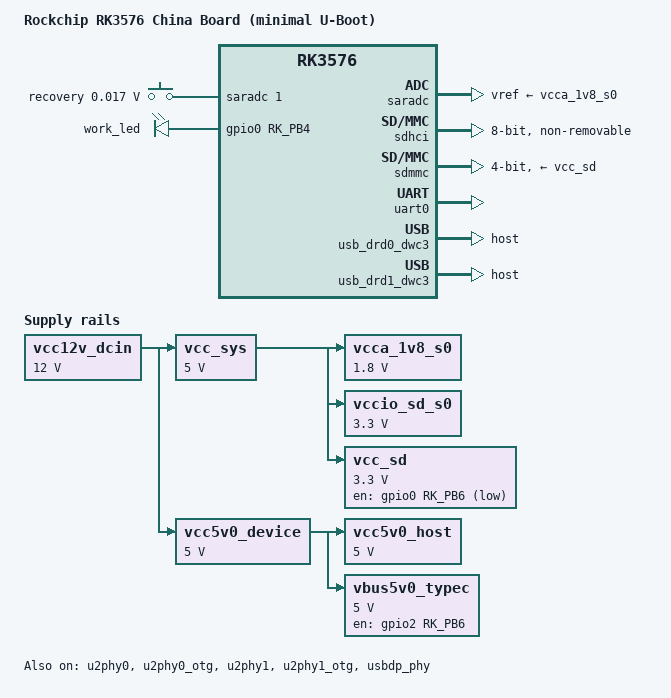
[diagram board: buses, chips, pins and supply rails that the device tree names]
// SPDX-License-Identifier: (GPL-2.0+ OR MIT)
/*
 * Minimal RK3576 U-Boot device tree for:
 * - eMMC boot storage
 * - SD card slot
 * - USB host
 * - status LED
 * - ADC recovery button
 */

/dts-v1/;

#include <dt-bindings/gpio/gpio.h>
#include <dt-bindings/input/input.h>
#include <dt-bindings/pinctrl/rockchip.h>
#include "rk3576.dtsi"

/ {
	model = "Rockchip RK3576 China Board (minimal U-Boot)";
	compatible = "rockchip,rk3576-evb1-v10", "rockchip,rk3576";

	aliases {
		mmc0 = &sdhci;
		mmc1 = &sdmmc;
		serial0 = &uart0;
	};

	chosen {
		stdout-path = "serial0:1500000n8";
	};

	adc_keys: adc-keys {
		compatible = "adc-keys";
		io-channels = <&saradc 1>;
		io-channel-names = "buttons";
		keyup-threshold-microvolt = <1800000>;
		poll-interval = <100>;

		button-recovery {
			label = "recovery";
			linux,code = <KEY_VOLUMEUP>;
			press-threshold-microvolt = <17000>;
		};
	};

	leds {
		compatible = "gpio-leds";

		work_led: work {
			gpios = <&gpio0 RK_PB4 GPIO_ACTIVE_HIGH>;
			linux,default-trigger = "heartbeat";
		};
	};

	vcc12v_dcin: regulator-vcc12v-dcin {
		compatible = "regulator-fixed";
		regulator-name = "vcc12v_dcin";
		regulator-always-on;
		regulator-boot-on;
		regulator-min-microvolt = <12000000>;
		regulator-max-microvolt = <12000000>;
	};

	vcc_sys: regulator-vcc5v0-sys {
		compatible = "regulator-fixed";
		regulator-name = "vcc_sys";
		regulator-always-on;
		regulator-boot-on;
		regulator-min-microvolt = <5000000>;
		regulator-max-microvolt = <5000000>;
		vin-supply = <&vcc12v_dcin>;
	};

	vcc5v0_device: regulator-vcc5v0-device {
		compatible = "regulator-fixed";
		regulator-name = "vcc5v0_device";
		regulator-always-on;
		regulator-boot-on;
		regulator-min-microvolt = <5000000>;
		regulator-max-microvolt = <5000000>;
		vin-supply = <&vcc12v_dcin>;
	};

	vcc5v0_host: regulator-vcc5v0-host {
		compatible = "regulator-fixed";
		regulator-name = "vcc5v0_host";
		regulator-always-on;
		regulator-boot-on;
		regulator-min-microvolt = <5000000>;
		regulator-max-microvolt = <5000000>;
		vin-supply = <&vcc5v0_device>;
	};

	vbus5v0_typec: regulator-vbus5v0-typec {
		compatible = "regulator-fixed";
		regulator-name = "vbus5v0_typec";
		regulator-min-microvolt = <5000000>;
		regulator-max-microvolt = <5000000>;
		enable-active-high;
		gpio = <&gpio2 RK_PB6 GPIO_ACTIVE_HIGH>;
		vin-supply = <&vcc5v0_device>;
		pinctrl-names = "default";
		pinctrl-0 = <&usb_otg0_pwren>;
	};

	vcca_1v8_s0: regulator-vcca-1v8-s0 {
		compatible = "regulator-fixed";
		regulator-name = "vcca_1v8_s0";
		regulator-always-on;
		regulator-boot-on;
		regulator-min-microvolt = <1800000>;
		regulator-max-microvolt = <1800000>;
		vin-supply = <&vcc_sys>;
	};

	vccio_sd_s0: regulator-vccio-sd-s0 {
		compatible = "regulator-fixed";
		regulator-name = "vccio_sd_s0";
		regulator-always-on;
		regulator-boot-on;
		regulator-min-microvolt = <3300000>;
		regulator-max-microvolt = <3300000>;
		vin-supply = <&vcc_sys>;
	};

	vcc_sd: regulator-vcc-sd {
		compatible = "regulator-fixed";
		regulator-name = "vcc_sd";
		regulator-boot-on;
		regulator-min-microvolt = <3300000>;
		regulator-max-microvolt = <3300000>;
		gpio = <&gpio0 RK_PB6 GPIO_ACTIVE_HIGH>;
		vin-supply = <&vcc_sys>;
		pinctrl-names = "default";
		pinctrl-0 = <&sdmmc_pwr>;
	};
};

&pinctrl {
	sdmmc-pwr-en {
		sdmmc_pwr: sdmmc-pwr {
			rockchip,pins = <0 RK_PB6 RK_FUNC_GPIO &pcfg_pull_none>;
		};
	};

	usb {
		usb_otg0_pwren: usb-otg0-pwren {
			rockchip,pins = <2 RK_PB6 RK_FUNC_GPIO &pcfg_pull_none>;
		};
	};
};

&saradc {
	vref-supply = <&vcca_1v8_s0>;
	status = "okay";
};

&sdhci {
	bus-width = <8>;
	full-pwr-cycle-in-suspend;
	max-frequency = <200000000>;
	mmc-hs400-1_8v;
	mmc-hs400-enhanced-strobe;
	no-sdio;
	no-sd;
	non-removable;
	status = "okay";
};

&sdmmc {
	bus-width = <4>;
	cap-mmc-highspeed;
	cap-sd-highspeed;
	disable-wp;
	max-frequency = <150000000>;
	no-sdio;
	no-mmc;
	vmmc-supply = <&vcc_sd>;
	vqmmc-supply = <&vccio_sd_s0>;
	status = "okay";
};

&u2phy0 {
	status = "okay";
};

&u2phy0_otg {
	phy-supply = <&vbus5v0_typec>;
	status = "okay";
};

&u2phy1 {
	status = "okay";
};

&u2phy1_otg {
	phy-supply = <&vcc5v0_host>;
	status = "okay";
};

&uart0 {
	status = "okay";
};

&usbdp_phy {
	rockchip,dp-lane-mux = <2 3>;
	status = "okay";
};

&usb_drd0_dwc3 {
	dr_mode = "host";
	status = "okay";
};

&usb_drd1_dwc3 {
	dr_mode = "host";
	status = "okay";
};
